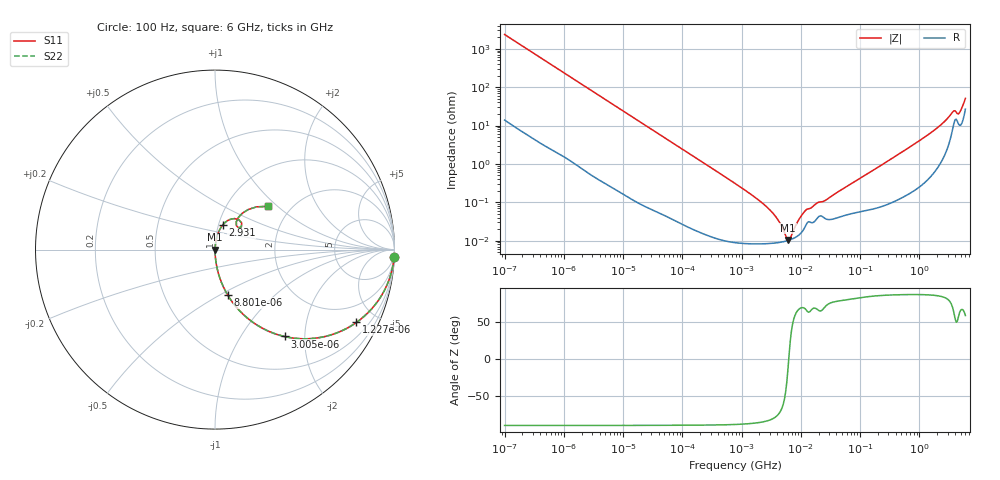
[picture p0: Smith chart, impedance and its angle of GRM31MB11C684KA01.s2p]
!Murata Part Number: GRM31MB11C684KA01
!These Parameters are Measured in Series Mode Connection
!Data Generated on Mar 30, 2021
!  o--ll--o
!Port1  Port2
!  o------o
!Operation Temp=25[degC], DC Bias Voltage=0[V]
!Freq. Start=100[Hz] Stop=6[GHz] 401[Steps]
# Hz S RI R 50
!Freq.(Hz) S11(Real) S11(Imag) S21(Real) S21(Imag) S12(Real) S12(Imag) S22(Real) S22(Imag)
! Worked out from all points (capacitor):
!   401 points, 100 Hz to 6 GHz, reference 50 ohm
!   read as one part in series: C = 675 nF near 109 Hz
!   lowest |Z| = 10.4 mohm at 6.075 MHz (marker M1)
!   series resonance near 6.261 MHz, so ESL is about 960 pH
!   S11 on the Smith chart (normalised r, x): 100 Hz: 1, -47; 1.227 kHz: 1.03, -3.87; 3.005 kHz: 1.01, -1.59; 8.801 kHz: 1.00, -0.54; 2.931 GHz: 1.05, +0.29; 6 GHz: 1.54, +0.86
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100  0.998 -0.0424  0.00205 0.0424  0.00205 0.0424  0.998 -0.0424
501  0.956 -0.2021  0.044 0.2021  0.044 0.2021  0.956 -0.2021
1227  0.788 -0.4055  0.212 0.4055  0.212 0.4055  0.788 -0.4055
2008  0.584 -0.4898  0.416 0.4898  0.416 0.4898  0.584 -0.4898
3005  0.3872 -0.484  0.6128 0.484  0.6128 0.484  0.3872 -0.484
5143  0.1792 -0.3803  0.8208 0.3803  0.8208 0.3803  0.1792 -0.3803
8801  0.0704 -0.2525  0.9296 0.2525  0.9296 0.2525  0.0704 -0.2525
40335  0.00408 -0.0595  0.9959 0.0595  0.9959 0.0595  0.00408 -0.0595
774597  9.84e-05 -0.00311  0.9999 0.00311  0.9999 0.00311  9.84e-05 -0.00311
3103719  8.51e-05 -0.000596  0.9999 0.000596  0.9999 0.000596  8.51e-05 -0.000596
4246196  8.95e-05 -0.000312  0.9999 0.000312  0.9999 0.000312  8.95e-05 -0.000312
6075234  0.000101 -2.36e-05  0.9999 2.36e-05  0.9999 2.36e-05  0.000101 -2.36e-05
6644369  0.000106 4.73e-05  0.9999 -4.73e-05  0.9999 -4.73e-05  0.000106 4.73e-05
8692127  0.00013 0.000269  0.9999 -0.000269  0.9999 -0.000269  0.00013 0.000269
1.087309e7  0.000184 0.000476  0.9998 -0.000476  0.9998 -0.000476  0.000184 0.000476
1.555665e7  0.000294 0.000691  0.9997 -0.000691  0.9997 -0.000691  0.000294 0.000691
3.124326e8  0.00108 0.0125  0.9989 -0.0125  0.9989 -0.0125  0.00108 0.0125
1.431855e9  0.00742 0.0579  0.9926 -0.0579  0.9926 -0.0579  0.00742 0.0579
2.931063e9  0.0425 0.1365  0.9575 -0.1365  0.9575 -0.1365  0.0425 0.1365
3.666503e9  0.1097 0.1728  0.8903 -0.1728  0.8903 -0.1728  0.1097 0.1728
4.796499e9  0.1189 0.1549  0.8811 -0.1549  0.8811 -0.1549  0.1189 0.1549
6e9  0.2933 0.2408  0.7067 -0.2408  0.7067 -0.2408  0.2933 0.2408
